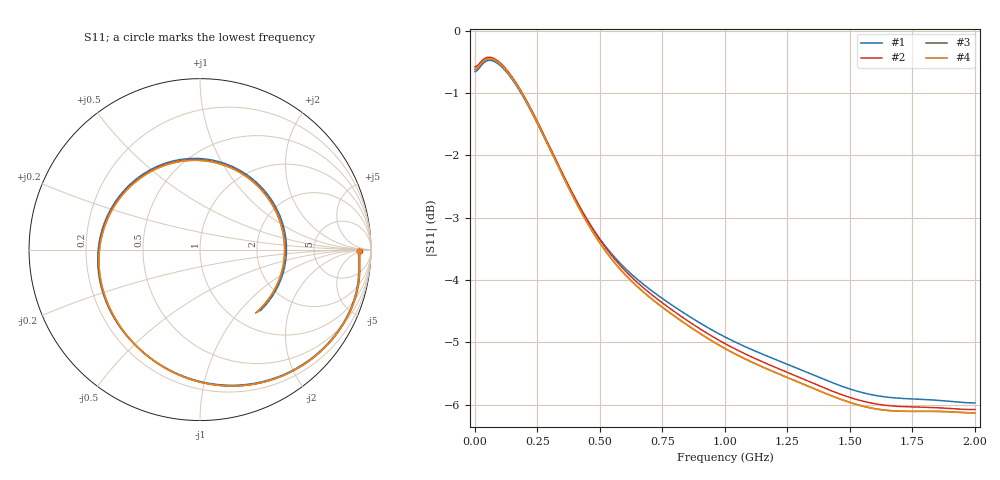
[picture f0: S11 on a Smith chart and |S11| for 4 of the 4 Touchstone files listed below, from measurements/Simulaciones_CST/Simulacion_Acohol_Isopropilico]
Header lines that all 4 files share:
! TOUCHSTONE file generated by CST MICROWAVE STUDIO
! Project name: Sonda-Coaxial_21mm_DisifixB_v2_Alchol - Isopropilico.cst
! Header version: 2018
! Port assignment regex: !\s*Touchstone port\s*([0-9]+)\s*=\s*(CST MWS port|CST DS port)\s*([0-9]+|Zmin|Zmax)\s*\(\"(.*)\"\)(\s*mode\s*([0-9]+))?.*
! Touchstone port assignment:
! Touchstone port 1 = CST MWS port 1 ("")
# GHz S RI R 50
Fixed: h_recipiente = 20, l_conector = 50, r_arandela = 35, r_ext = 10.5, r_int = 3, r_recipiente = 100
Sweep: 1 MHz to 2 GHz
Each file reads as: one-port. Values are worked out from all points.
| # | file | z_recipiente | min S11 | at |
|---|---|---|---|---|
| 1 | Sonda-Coaxial_21mm_DisifixB_v2_Alchol - Isopropilico_1.s1p | -10 | -6.0 dB | 1.996 GHz |
| 2 | Sonda-Coaxial_21mm_DisifixB_v2_Alchol - Isopropilico_2.s1p | -30 | -6.1 dB | 1.986 GHz |
| 3 | Sonda-Coaxial_21mm_DisifixB_v2_Alchol - Isopropilico_4.s1p | -80 | -6.1 dB | 2 GHz |
| 4 | Sonda-Coaxial_21mm_DisifixB_v2_Alchol - Isopropilico_5.s1p | -100 | -6.1 dB | 1.999 GHz |
